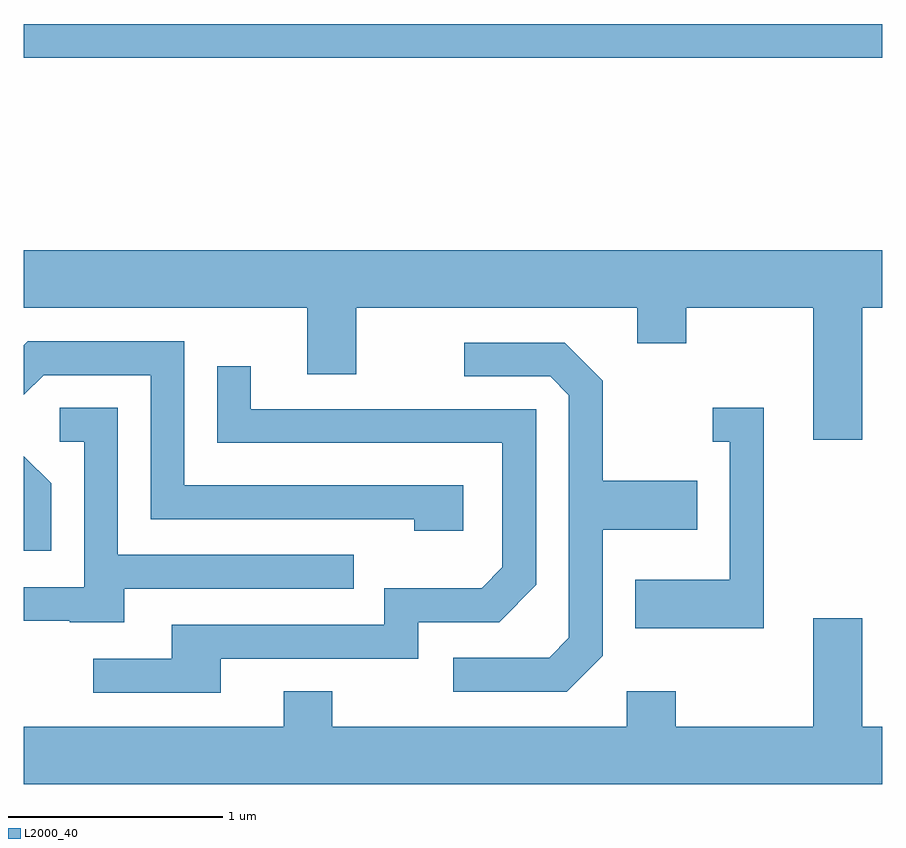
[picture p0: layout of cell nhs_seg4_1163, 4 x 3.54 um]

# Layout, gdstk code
import gdstk
lib = gdstk.Library(unit=1e-6, precision=1e-09)
def R(c, l, rs):  # rectangles x0, y0, x1, y1
    for r in rs: c.add(gdstk.rectangle(r[:2], r[2:], *l))
def P(c, l, *ps):  # polygons
    for p in ps: c.add(gdstk.Polygon(p, *l))
L2000_40 = (2000, 40)

nhs_seg4_1163 = lib.new_cell('nhs_seg4_1163')
R(nhs_seg4_1163, L2000_40, [(219.611,1271.481,223.611,1271.639)])
P(nhs_seg4_1163, L2000_40, [(223.519,1270.316),(223.611,1270.316),(223.611,1270.584),(219.611,1270.584),(219.611,1270.316),(220.931,1270.316),(220.931,1270.006),(221.159,1270.006),(221.159,1270.316),(222.471,1270.316),(222.471,1270.151),(222.699,1270.151),(222.699,1270.316),(223.291,1270.316),(223.291,1269.701),(223.519,1269.701)],
  [(221.659,1269.489),(220.359,1269.489),(220.359,1270.159),(219.629,1270.159),(219.611,1270.141),(219.611,1269.91),(219.702,1270.001),(220.201,1270.001),(220.201,1269.331),(221.431,1269.331),(221.431,1269.276),(221.659,1269.276)],
  [(222.309,1268.694),(222.309,1269.281),(222.749,1269.281),(222.749,1269.509),(222.309,1269.509),(222.309,1269.977),(222.132,1270.154),(221.663,1270.154),(221.663,1269.996),(222.064,1269.996),(222.151,1269.909),(222.151,1268.777),(222.059,1268.684),(221.613,1268.684),(221.613,1268.526),(222.142,1268.526)],
  [(220.529,1268.681),(221.449,1268.681),(221.449,1268.851),(221.827,1268.851),(221.999,1269.024),(221.999,1269.844),(220.669,1269.844),(220.669,1270.043),(220.511,1270.043),(220.511,1269.686),(221.841,1269.686),(221.841,1269.107),(221.744,1269.009),(221.291,1269.009),(221.291,1268.839),(220.301,1268.839),(220.301,1268.679),(219.933,1268.679),(219.933,1268.521),(220.529,1268.521)],
  [(220.079,1269.006),(221.148,1269.006),(221.148,1269.164),(220.049,1269.164),(220.049,1269.849),(219.778,1269.849),(219.778,1269.691),(219.891,1269.691),(219.891,1269.014),(219.611,1269.014),(219.611,1268.856),(219.825,1268.856),(219.825,1268.851),(220.079,1268.851)],
  [(223.059,1269.849),(222.823,1269.849),(222.823,1269.691),(222.901,1269.691),(222.901,1269.049),(222.461,1269.049),(222.461,1268.821),(223.059,1268.821)],
  [(219.739,1269.497),(219.611,1269.625),(219.611,1269.183),(219.739,1269.183)],
  [(223.611,1268.364),(223.519,1268.364),(223.519,1268.869),(223.291,1268.869),(223.291,1268.364),(222.649,1268.364),(222.649,1268.529),(222.421,1268.529),(222.421,1268.364),(221.049,1268.364),(221.049,1268.529),(220.821,1268.529),(220.821,1268.364),(219.611,1268.364),(219.611,1268.096),(223.611,1268.096)])

lib.write_gds('nhs_seg4_1163.gds')
